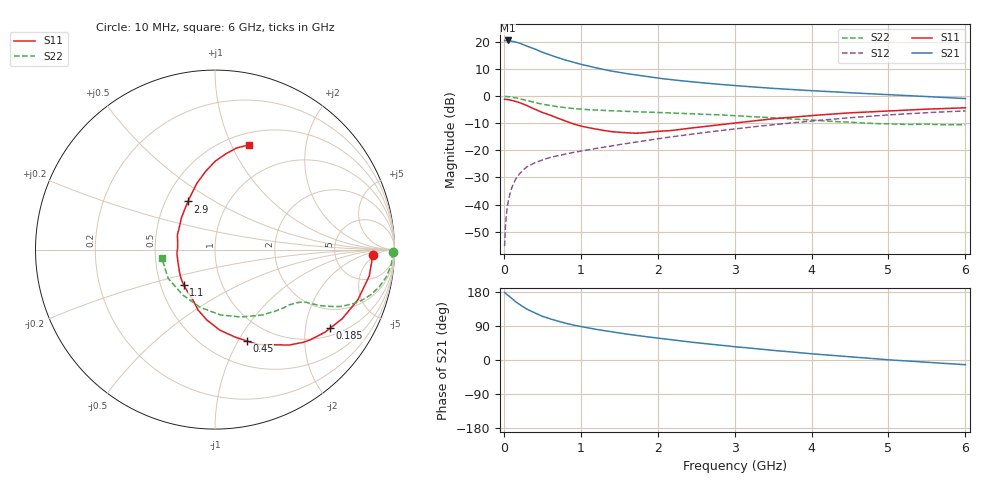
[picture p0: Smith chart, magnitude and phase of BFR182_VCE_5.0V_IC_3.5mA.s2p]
! Infineon Technologies  Discrete & RF Semiconductors
! BFR182
! VCE =  5.0 V,  IC =  3.5 mA
! Common Emitter S-Parameters:  Nov 2015
# GHz  S  MA  R  50
!  f  S11  S21  S12  S22
! GHz  MAG  ANG  MAG  ANG  MAG  ANG  MAG  ANG
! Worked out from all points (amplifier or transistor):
!   210 points, 10 MHz to 6 GHz, reference 50 ohm
!   highest |S21| = 20.6 dB at 50 MHz (marker M1)
!   |S21| within 3 dB of that: start of sweep to 387.5 MHz
!   unconditionally stable (mu >= 1): 1.258 GHz to 2.985 GHz
!   at 185 MHz: K = 0.26, MSG = 24.6 dB, |S12| = -29.4 dB
!   at 1.52 GHz: K = 1.05, MAG = 11.9 dB, |S12| = -17.8 dB
!   at 6 GHz: K = 0.88, MSG = 2.3 dB, |S12| = -5.4 dB
!   S11 on the Smith chart (normalised r, x): 10 MHz: 14, -4; 185 MHz: 1.24, -2.74; 450 MHz: 0.76, -1.09; 1.1 GHz: 0.66, -0.28; 2.9 GHz: 0.65, +0.39; 6 GHz: 0.62, +1.17
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0.01  0.8785 -2.0  10.68 178.3  0.0017 90.0  0.9924 -0.9
0.025  0.8752 -4.9  10.64 175.5  0.0048 86.7  0.988 -2.2
0.05  0.8719 -9.7  10.74 171.3  0.0099 83.5  0.9867 -4.5
0.1  0.8438 -19.3  10.43 163.1  0.0198 79.2  0.9686 -8.8
0.15  0.8068 -28.5  10.07 154.2  0.0288 74.0  0.9381 -12.8
0.185  0.7767 -34.3  9.754 149.2  0.034 71.5  0.9143 -15.1
0.24  0.7314 -43.4  9.122 141.8  0.0419 67.5  0.8754 -18.3
0.3  0.6732 -52.2  8.452 134.2  0.0495 64.7  0.8351 -21.0
0.4  0.5796 -65.7  7.496 124.3  0.0589 60.3  0.7673 -24.4
0.45  0.5385 -70.8  6.982 120.1  0.0626 59.1  0.7396 -25.4
0.5  0.5024 -76.7  6.511 115.3  0.0664 58.0  0.7121 -26.4
0.7  0.3945 -96.7  5.187 102.5  0.0798 56.3  0.6414 -28.6
0.88  0.3171 -111.4  4.336 93.3  0.0901 56.0  0.598 -29.7
1.02  0.2779 -123.8  3.844 87.5  0.0979 56.6  0.5753 -30.5
1.1  0.2633 -131.7  3.611 84.6  0.1025 56.9  0.5655 -31.1
1.4  0.2222 -156.4  2.921 74.4  0.1205 58.0  0.5391 -33.7
2.02  0.2254 157.4  2.151 57.1  0.1655 58.9  0.5011 -40.4
2.9  0.3076 119.2  1.619 37.3  0.24 56.1  0.4458 -54.9
3.1  0.3316 113.8  1.539 33.3  0.2588 54.7  0.4294 -59.2
4.1  0.4508 95.1  1.245 14.9  0.3587 46.0  0.3558 -88.6
5.1  0.5446 82.4  1.056 -0.7  0.4613 33.8  0.3055 -129.8
6  0.6123 72.2  0.907 -12.4  0.5363 20.7  0.2997 -170.8
